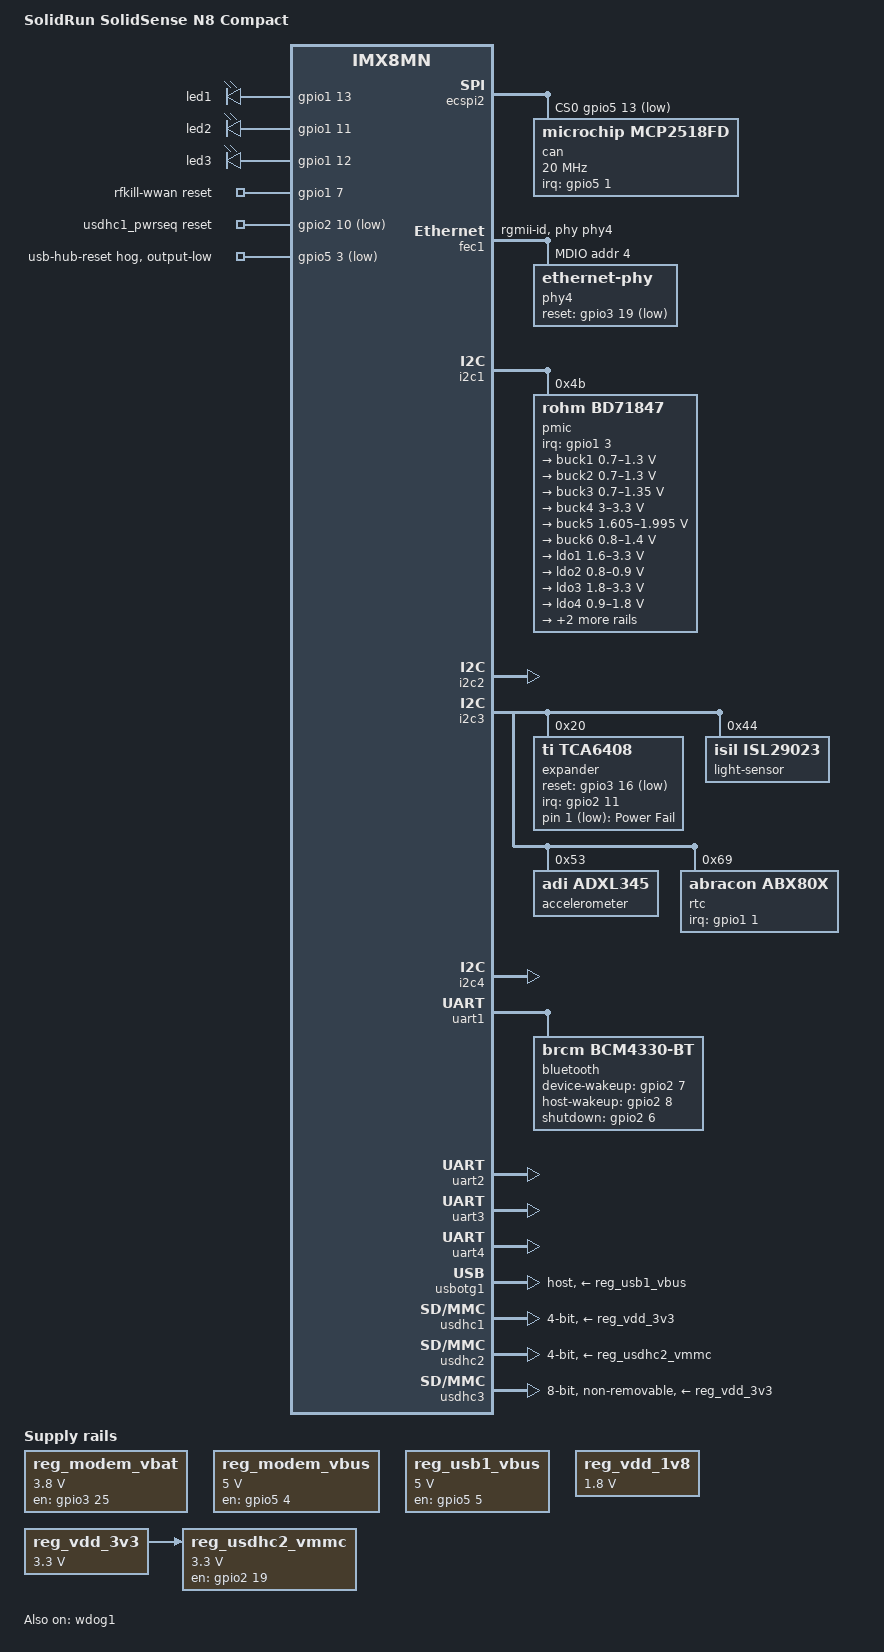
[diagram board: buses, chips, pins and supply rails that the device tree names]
// SPDX-License-Identifier: (GPL-2.0 OR MIT)
//
// Device Tree file for SolidSense N8 Compact
//
// Copyright 2024 Josua Mayer <josua@solid-run.com>

/dts-v1/;

#include <dt-bindings/leds/common.h>

#include "imx8mn.dtsi"

/ {
	model = "SolidRun SolidSense N8 Compact";
	compatible = "solidrun,solidsense-n8-compact", "fsl,imx8mn";

	aliases {
		gpio5 = &expander;
		rtc0 = &rtc;
		rtc1 = &snvs_rtc;
		usb0 = &usbotg1;
		watchdog0 = &wdog1;
		watchdog1 = &rtc;
	};

	chosen {
		stdout-path = &uart2;
	};

	/*poll IO Expander and reboot in case of power loss*/
	gpio-keys {
		compatible = "gpio-keys";
		autorepeat;

		key-power-fail {
			label = "Power Fail";
			linux,code = <KEY_RESTART>;
			gpios = <&expander 1 GPIO_ACTIVE_LOW>;
			debounce-interval = <100>;
			linux,can-disable;
		};
	};

	/* LED labels based on enclosure, schematic names differ. */
	leds {
		compatible = "gpio-leds";
		pinctrl-names = "default";
		pinctrl-0 = <&led_pins>;

		/* D20 */
		led1 {
			lable = "led1";
		        gpios = <&gpio1 13 GPIO_ACTIVE_HIGH>;
		        default-state = "off";
		};

		/* D18 */
		led2 {
			lable = "led2";
		        gpios = <&gpio1 11 GPIO_ACTIVE_HIGH>;
		        default-state = "off";
		};

		/* D19 */
		led3 {
			lable = "led3";
		        gpios = <&gpio1 12 GPIO_ACTIVE_HIGH>;
		        default-state = "off";
		};
	};

	reg_modem_vbat: regulator-modem-vbat {
		compatible = "regulator-fixed";
		regulator-name = "modem-vbat";
		pinctrl-names = "default";
		pinctrl-0 = <&regulator_modem_vbat_pins>;
		regulator-min-microvolt = <3800000>;
		regulator-max-microvolt = <3800000>;
		gpio = <&gpio3 25 GPIO_ACTIVE_HIGH>;
		enable-active-high;
		regulator-always-on;
	};

	/* power to lte modems behind hub ports 2/3 */
	reg_modem_vbus: regulator-modem-vbus {
		compatible = "regulator-fixed";
		regulator-name = "modem-vbus";
		pinctrl-names = "default";
		pinctrl-0 = <&regulator_modem_vbus_pins>;
		regulator-min-microvolt = <5000000>;
		regulator-max-microvolt = <5000000>;
		gpio = <&gpio5 4 GPIO_ACTIVE_HIGH>;
		enable-active-high;
		regulator-always-on;
	};

	/* power to usb hub, and type-a behind hub port 1 */
	reg_usb1_vbus: regulator-usb1-vbus {
		compatible = "regulator-fixed";
		regulator-name = "usb1-vbus";
		pinctrl-names = "default";
		pinctrl-0 = <&regulator_usb1_vbus_pins>;
		regulator-min-microvolt = <5000000>;
		regulator-max-microvolt = <5000000>;
		gpio = <&gpio5 5 GPIO_ACTIVE_HIGH>;
		enable-active-high;
	};

	reg_vdd_1v8: regulator-vdd-1v8 {
		compatible = "regulator-fixed";
		regulator-name = "vdd-1v8";
		regulator-min-microvolt = <1800000>;
		regulator-max-microvolt = <1800000>;
	};

	reg_vdd_3v3: regulator-vdd-3v3 {
		compatible = "regulator-fixed";
		regulator-name = "vdd-3v3";
		regulator-min-microvolt = <3300000>;
		regulator-max-microvolt = <3300000>;
	};

	reg_usdhc2_vmmc: regulator-usdhc2-vmmc {
		compatible = "regulator-fixed";
		regulator-name = "usdhc2-vmmc";
		pinctrl-names = "default";
		pinctrl-0 = <&regulator_usdhc2_vmmc_pins>;
		regulator-min-microvolt = <3300000>;
		regulator-max-microvolt = <3300000>;
		vin-supply = <&reg_vdd_3v3>;
		gpio = <&gpio2 19 GPIO_ACTIVE_HIGH>;
		enable-active-high;
		off-on-delay-us = <250>;
	};

	rfkill {
		compatible = "rfkill-gpio";
		label = "rfkill-wwan";
		radio-type = "wwan";
		pinctrl-names = "default";
		pinctrl-0 = <&modem_pins>;
		reset-gpios = <&gpio1 7 GPIO_ACTIVE_HIGH>;
	};

	usdhc1_pwrseq: usdhc1-pwrseq {
		compatible = "mmc-pwrseq-simple";
		reset-gpios = <&gpio2 10 GPIO_ACTIVE_LOW>;
	};
};

&ecspi2 {
	pinctrl-names = "default";
	pinctrl-0 = <&ecspi2_pins>;
	/* native chip-select causes reading 0xffffffff */
	cs-gpios = <&gpio5 13 GPIO_ACTIVE_LOW>;
	num-cs = <1>;
	status = "okay";

	can@0 {
		compatible = "microchip,mcp2518fd";
		reg = <0>;
		spi-max-frequency = <20000000>;
		pinctrl-names = "default";
		pinctrl-0 = <&can_pins>;
		interrupt-parent = <&gpio5>;
		interrupts = <1 IRQ_TYPE_EDGE_FALLING>;
		clocks = <&clk IMX8MN_CLK_CLKOUT1>;
		/* generate 8MHz clock from soc-internal 24mhz reference */
		assigned-clocks = <&clk IMX8MN_CLK_CLKOUT1_SEL>,
			  <&clk IMX8MN_CLK_CLKOUT1_DIV>;
		assigned-clock-rates = <0>, <8000000>;
		assigned-clock-parents = <&clk IMX8MN_CLK_24M>, <0>;
	};
};

&fec1 {
	pinctrl-names = "default";
	pinctrl-0 = <&fec1_pins>;
	phy-mode = "rgmii-id";
	phy-handle = <&phy4>;
	local-mac-address = [00 00 00 00 00 00];
	fsl,magic-packet;
	status = "okay";

	mdio {
		#address-cells = <1>;
		#size-cells = <0>;

		/*
		 * Depending on board revision two different phys are used:
		 * - v1.1: atheros phy at address 4
		 * - v1.2+: analog devices phy at address 0
		 * Configure first version by default.
		 * On v1.2 and later, U-Boot will enable the correct phy
		 * based on runtime detection and patch dtb accordingly.
		 */

		/* ADIN1300 */
		phy0: ethernet-phy@0 {
			reg = <0>;
			reset-gpios = <&gpio3 19 GPIO_ACTIVE_LOW>;
			reset-assert-us = <10>;
			reset-deassert-us = <5000>;
			interrupt-parent = <&gpio1>;
			interrupts = <10 IRQ_TYPE_LEVEL_LOW>;
			adi,link-st-polarity = <GPIO_ACTIVE_LOW>;
			adi,led-polarity = <GPIO_ACTIVE_LOW>;
			status = "disabled";

			leds {
				#address-cells = <1>;
				#size-cells = <0>;

				led@0 {
					reg = <0>;
					color = <LED_COLOR_ID_YELLOW>;
					function = LED_FUNCTION_LAN;
					default-state = "keep";
					active-low;
				};
			};
		};

		/* AR8035 */
		phy4: ethernet-phy@4 {
			reg = <4>;
			reset-gpios = <&gpio3 19 GPIO_ACTIVE_LOW>;
			reset-assert-us = <10000>;
			status = "okay";
		};
	};
};

&gpio5 {
	usb-hub-reset-hog {
		gpio-hog;
		gpios = <3 GPIO_ACTIVE_LOW>;
		output-low; /* deasserted */
		line-name = "usb-hub-reset";
	};
};

&i2c1 {
	pinctrl-names = "default";
	pinctrl-0 = <&i2c1_pins>;
	status = "okay";

	pmic@4b {
		compatible = "rohm,bd71847";
		reg = <0x4b>;
		pinctrl-names = "default";
		pinctrl-0 = <&pmic_pins>;
		interrupt-parent = <&gpio1>;
		interrupts = <3 IRQ_TYPE_LEVEL_LOW>;
		rohm,reset-snvs-powered;

		#clock-cells = <0>;
		clocks = <&osc_32k>;
		clock-output-names = "clk-32k-out";

		regulators {
			BUCK1 {
				// supplies soc vdd, soc mipi vdd @ 0.9V
				regulator-name = "buck1";
				regulator-min-microvolt = <700000>;
				regulator-max-microvolt = <1300000>;
				regulator-boot-on;
				regulator-always-on;
				regulator-ramp-delay = <1250>;
				rohm,dvs-run-voltage = <850000>;
				rohm,dvs-suspend-voltage = <750000>;
			};

			BUCK2 {
				regulator-name = "buck2";
				regulator-min-microvolt = <700000>;
				regulator-max-microvolt = <1300000>;
				regulator-boot-on;
				regulator-always-on;
				regulator-ramp-delay = <1250>;
				rohm,dvs-run-voltage = <1000000>;
				rohm,dvs-idle-voltage = <900000>;
				rohm,dvs-suspend-voltage = <0>;
			};

			BUCK3 {
				// BUCK5 in datasheet
				// output floating
				regulator-name = "buck3";
				regulator-min-microvolt = <700000>;
				regulator-max-microvolt = <1350000>;
			};

			BUCK4 {
				// BUCK6 in datasheet
				// supplies ldo3, ldo5, muxsw
				regulator-name = "buck4";
				regulator-min-microvolt = <3000000>;
				regulator-max-microvolt = <3300000>;
				regulator-boot-on;
				regulator-always-on;
			};

			BUCK5 {
				// BUCK7 in datasheet
				// supplies ldo4, ldo6, muxsw
				// enables dram vpp @ 2.5V
				regulator-name = "buck5";
				regulator-min-microvolt = <1605000>;
				regulator-max-microvolt = <1995000>;
				regulator-boot-on;
				regulator-always-on;
			};

			BUCK6 {
				// BUCK8 in datasheet
				// supplies dram @ 1.2V
				regulator-name = "buck6";
				regulator-min-microvolt = <800000>;
				regulator-max-microvolt = <1400000>;
				regulator-boot-on;
				regulator-always-on;
			};

			LDO1 {
				// supplies soc snvs @ 1.8V
				regulator-name = "ldo1";
				regulator-min-microvolt = <1600000>;
				regulator-max-microvolt = <3300000>;
				regulator-boot-on;
				regulator-always-on;
			};

			LDO2 {
				// supplies soc snvs @ 0.8V
				regulator-name = "ldo2";
				regulator-min-microvolt = <800000>;
				regulator-max-microvolt = <900000>;
				regulator-boot-on;
				regulator-always-on;
			};

			LDO3 {
				// supplies soc vdd @ 1.8V
				regulator-name = "ldo3";
				regulator-min-microvolt = <1800000>;
				regulator-max-microvolt = <3300000>;
				regulator-boot-on;
				regulator-always-on;
			};

			LDO4 {
				// output floating
				regulator-name = "ldo4";
				regulator-min-microvolt = <900000>;
				regulator-max-microvolt = <1800000>;
			};

			LDO5 {
				// output floating
				regulator-name = "ldo5";
				regulator-min-microvolt = <800000>;
				regulator-max-microvolt = <3300000>;
			};

			LDO6 {
				// supplies soc vdd mipi @ 1.2V
				regulator-name = "ldo6";
				regulator-min-microvolt = <900000>;
				regulator-max-microvolt = <1800000>;
				regulator-boot-on;
				regulator-always-on;
			};
		};
	};
};

&i2c2 {
	/*
	 * routed to various connectors:
	 * - basler camera (CON2)
	 * - touchscreen (J3)
	 * - expansion connector (J14)
	 */
	pinctrl-names = "default";
	pinctrl-0 = <&i2c2_pins>;
	status = "okay";
};

&i2c3 {
	pinctrl-names = "default";
	pinctrl-0 = <&i2c3_pins>;
	status = "okay";

	expander: gpio@20 {
		compatible = "ti,tca6408";
		reg = <0x20>;
		pinctrl-names = "default";
		pinctrl-0 = <&gpio_expander_pins>;
		reset-gpios = <&gpio3 16 GPIO_ACTIVE_LOW>;
		interrupt-parent = <&gpio2>;
		interrupts = <11 IRQ_TYPE_EDGE_FALLING>;
		interrupt-controller;
		#interrupt-cells = <2>;
		gpio-controller;
		#gpio-cells = <2>;
		gpio-line-names = "SYSGD", "PFO#", "CAPGD", "CAPFLT#",
				  "CHGEN#", "BSTEN#", "", "";
	};

	light-sensor@44 {
		compatible = "isil,isl29023";
		reg = <0x44>;
	};

	accelerometer@53 {
		compatible = "adi,adxl345";
		reg = <0x53>;
	};

	/* battery-charger@68 */

	rtc: rtc@69 {
		compatible = "abracon,abx80x";
		reg = <0x69>;
		pinctrl-names = "default";
		pinctrl-0 = <&rtc_pins>;
		abracon,tc-diode = "schottky";
		abracon,tc-resistor = <3>;
		interrupt-parent = <&gpio1>;
		interrupts = <1 IRQ_TYPE_EDGE_FALLING>;
	};
};

&i2c4 {
	/* routed to expansion connector (J14) */
	pinctrl-names = "default";
	pinctrl-0 = <&i2c4_pins>;
	status = "okay";
};

&iomuxc {
	pinctr-names = "default";
	pinctrl-0 = <&tamper_pins>, <&usb_hub_pins>;

	ieee802151_radio_pins: ieee802151-radio-pins {
		fsl,pins = <
			/* RESETN */
			MX8MN_IOMUXC_GPIO1_IO05_GPIO1_IO5	0x0 /* TODO: pull / set 1? */
			/* VDD_EN */
			MX8MN_IOMUXC_GPIO1_IO06_GPIO1_IO6	0x0
			/* SWDCLK */
			MX8MN_IOMUXC_GPIO1_IO14_GPIO1_IO14	0x0 /* TODO: pull-up? */
			/* SDIO */
			MX8MN_IOMUXC_GPIO1_IO15_GPIO1_IO15	0x0 /* TODO: pull-up? */
		>;
	};

	can_pins: can-pins {
		fsl,pins = <
			MX8MN_IOMUXC_SAI3_TXD_GPIO5_IO1		0x140
		>;
	};

	ecspi2_pins: ecspi2-pins {
		fsl,pins = <
			MX8MN_IOMUXC_ECSPI2_SCLK_ECSPI2_SCLK	0x96
			MX8MN_IOMUXC_ECSPI2_MOSI_ECSPI2_MOSI	0x1d6
			MX8MN_IOMUXC_ECSPI2_MISO_ECSPI2_MISO	0x1d6
			MX8MN_IOMUXC_ECSPI2_SS0_GPIO5_IO13	0x1d6
		>;
	};

	fec1_pins: fec1-pins {
		/*
		 * Some pins are sampled at phy reset to apply configuration:
		 * - AR803x PHY (revision 1.1)
		 *   - RXD[1:0]: phy address bits [1:0]
		 *   - RXD[3:2],RX_CTL: mac interface select bits 3,1,0
		 * - ADIN1300 PHY (revision 1.2 or later)
		 *   - RXD[3:0]: phy address bits [3:0]
		 *   - RX_CTL,RXC: mac interface select bits 1,0
		 * SoC enables pull-down at reset, PHYs have internal
		 * pull-down, so pinmux may unset pull-enable.
		 */
		fsl,pins = <
			MX8MN_IOMUXC_ENET_MDC_ENET1_MDC			0x2
			MX8MN_IOMUXC_ENET_MDIO_ENET1_MDIO		0x2
			MX8MN_IOMUXC_ENET_TD3_ENET1_RGMII_TD3		0x1e
			MX8MN_IOMUXC_ENET_TD2_ENET1_RGMII_TD2		0x1e
			MX8MN_IOMUXC_ENET_TD1_ENET1_RGMII_TD1		0x1e
			MX8MN_IOMUXC_ENET_TD0_ENET1_RGMII_TD0		0x1e
			/* RD[3:0] sampled at phy reset for address bits [3:0] */
			MX8MN_IOMUXC_ENET_RD3_ENET1_RGMII_RD3		0x90
			MX8MN_IOMUXC_ENET_RD2_ENET1_RGMII_RD2		0x90
			MX8MN_IOMUXC_ENET_RD1_ENET1_RGMII_RD1		0x90
			MX8MN_IOMUXC_ENET_RD0_ENET1_RGMII_RD0		0x90
			MX8MN_IOMUXC_ENET_TXC_ENET1_RGMII_TXC		0x10
			MX8MN_IOMUXC_ENET_RXC_ENET1_RGMII_RXC		0x90
			MX8MN_IOMUXC_ENET_RX_CTL_ENET1_RGMII_RX_CTL	0x90
			MX8MN_IOMUXC_ENET_TX_CTL_ENET1_RGMII_TX_CTL	0x10
			/* phy reset */
			MX8MN_IOMUXC_SAI5_RXFS_GPIO3_IO19		0x0
			/* phy interrupt */
			MX8MN_IOMUXC_GPIO1_IO10_GPIO1_IO10		0x140
		>;
	};

	gpio_expander_pins: gpio-expander-pins {
		fsl,pins = <
			MX8MN_IOMUXC_NAND_READY_B_GPIO3_IO16	0x140
			MX8MN_IOMUXC_SD1_STROBE_GPIO2_IO11	0x140
		>;
	};

	i2c1_pins: i2c1-pins {
		fsl,pins = <
			MX8MN_IOMUXC_I2C1_SCL_I2C1_SCL		0x400001c2
			MX8MN_IOMUXC_I2C1_SDA_I2C1_SDA		0x400001c2
		>;
	};

	i2c2_pins: i2c2-pins {
		fsl,pins = <
			MX8MN_IOMUXC_I2C2_SCL_I2C2_SCL		0x400001c2
			MX8MN_IOMUXC_I2C2_SDA_I2C2_SDA		0x400001c2
		>;
	};

	i2c3_pins: i2c3-pins {
		fsl,pins = <
			MX8MN_IOMUXC_I2C3_SCL_I2C3_SCL		0x400001c2
			MX8MN_IOMUXC_I2C3_SDA_I2C3_SDA		0x400001c2
		>;
	};

	i2c4_pins: i2c4-pins {
		fsl,pins = <
			MX8MN_IOMUXC_I2C4_SCL_I2C4_SCL		0x400001c2
			MX8MN_IOMUXC_I2C4_SDA_I2C4_SDA		0x400001c2
		>;
	};

	led_pins: led-pins {
		fsl,pins = <
			MX8MN_IOMUXC_GPIO1_IO11_GPIO1_IO11	0x100
			MX8MN_IOMUXC_GPIO1_IO12_GPIO1_IO12	0x100
			MX8MN_IOMUXC_GPIO1_IO13_GPIO1_IO13	0x100
		>;
	};

	modem_pins: modem-pins {
		fsl,pins = <
			/* RESET_N: modem-internal pull-down */
			MX8MN_IOMUXC_GPIO1_IO07_GPIO1_IO7	0x0
			/* PWRKEY: pull-down ensures always-on */
			MX8MN_IOMUXC_GPIO1_IO08_GPIO1_IO8	0x100
		>;
	};

	pmic_pins: pmic-pins {
		fsl,pins = <
			MX8MN_IOMUXC_GPIO1_IO03_GPIO1_IO3	0x140
		>;
	};

	regulator_modem_vbat_pins: regulator-modem-vbat-pins {
		fsl,pins = <
			MX8MN_IOMUXC_SAI5_MCLK_GPIO3_IO25	0x0
		>;
	};

	regulator_modem_vbus_pins: regulator-modem-vbus-pins {
		fsl,pins = <
			MX8MN_IOMUXC_SPDIF_RX_GPIO5_IO4		0x0
		>;
	};

	regulator_usb1_vbus_pins: regulator-usb1-vbus-pins {
		fsl,pins = <
			MX8MN_IOMUXC_SPDIF_EXT_CLK_GPIO5_IO5	0x0
		>;
	};

	regulator_usdhc2_vmmc_pins: regulator-usdhc2-vmmc-pins {
		fsl,pins = <
			MX8MN_IOMUXC_SD2_RESET_B_GPIO2_IO19	0x0
		>;
	};

	rtc_pins: rtc-pins {
		fsl,pins = <
			MX8MN_IOMUXC_GPIO1_IO01_GPIO1_IO1	0x140
			MX8MN_IOMUXC_SAI3_RXFS_GPIO4_IO28	0x100
		>;
	};

	tamper_pins: tamper-pins {
		/*
		 * Routed to physical tamper input (J12),
		 * accelerometer and light-sensor interrupts.
		 */
		fsl,pins = <
			MX8MN_IOMUXC_GPIO1_IO09_GPIO1_IO9	0x140
		>;
	};

	uart1_pins: uart1-pins {
		fsl,pins = <
			MX8MN_IOMUXC_UART1_RXD_UART1_DCE_RX	0x140
			MX8MN_IOMUXC_UART1_TXD_UART1_DCE_TX	0x140
			MX8MN_IOMUXC_UART3_RXD_UART1_DCE_CTS_B	0x140
			MX8MN_IOMUXC_UART3_TXD_UART1_DCE_RTS_B	0x140
			/* BT_REG_ON */
			MX8MN_IOMUXC_SD1_DATA4_GPIO2_IO6	0x0
			/* BT_WAKE_DEV */
			MX8MN_IOMUXC_SD1_DATA5_GPIO2_IO7	0x0
			/* BT_WAKE_HOST */
			MX8MN_IOMUXC_SD1_DATA6_GPIO2_IO8	0x100
		>;
	};

	uart2_pins: uart2-pins {
		fsl,pins = <
			MX8MN_IOMUXC_UART2_RXD_UART2_DCE_RX	0x140
			MX8MN_IOMUXC_UART2_TXD_UART2_DCE_TX	0x140
		>;
	};

	uart3_pins: uart3-pins {
		fsl,pins = <
			MX8MN_IOMUXC_ECSPI1_MOSI_UART3_DTE_RX	0x140
			MX8MN_IOMUXC_ECSPI1_SCLK_UART3_DTE_TX	0x140
			MX8MN_IOMUXC_ECSPI1_MISO_UART3_DTE_RTS_B	0x140
			MX8MN_IOMUXC_ECSPI1_SS0_UART3_DTE_CTS_B	0x140
		>;
	};

	uart4_pins: uart4-pins {
		fsl,pins = <
			MX8MN_IOMUXC_UART4_RXD_UART4_DCE_RX	0x140
			MX8MN_IOMUXC_UART4_TXD_UART4_DCE_TX	0x140
		>;
	};

	usb_hub_pins: usb-hub-pins {
		fsl,pins = <
			MX8MN_IOMUXC_SPDIF_TX_GPIO5_IO3		0x0
		>;
	};

	usdhc1_pins: usdhc1-pins {
		fsl,pins = <
			MX8MN_IOMUXC_SD1_CLK_USDHC1_CLK		0x190
			MX8MN_IOMUXC_SD1_CMD_USDHC1_CMD		0x1d0
			MX8MN_IOMUXC_SD1_DATA0_USDHC1_DATA0	0x1d0
			MX8MN_IOMUXC_SD1_DATA1_USDHC1_DATA1	0x1d0
			MX8MN_IOMUXC_SD1_DATA2_USDHC1_DATA2	0x1d0
			MX8MN_IOMUXC_SD1_DATA3_USDHC1_DATA3	0x1d0
			/* wifi refclk */
			MX8MN_IOMUXC_GPIO1_IO00_ANAMIX_REF_CLK_32K	0x0
			/* WL_WAKE_HOST */
			MX8MN_IOMUXC_SD1_DATA7_GPIO2_IO9	0x100
			/* WL_REG_ON */
			MX8MN_IOMUXC_SD1_RESET_B_GPIO2_IO10	0x0
		>;
	};

	usdhc2_pins: usdhc2-pins {
		fsl,pins = <
			MX8MN_IOMUXC_SD2_CLK_USDHC2_CLK		0x190
			MX8MN_IOMUXC_SD2_CMD_USDHC2_CMD		0x1d0
			MX8MN_IOMUXC_SD2_DATA0_USDHC2_DATA0	0x1d0
			MX8MN_IOMUXC_SD2_DATA1_USDHC2_DATA1	0x1d0
			MX8MN_IOMUXC_SD2_DATA2_USDHC2_DATA2	0x1d0
			MX8MN_IOMUXC_SD2_DATA3_USDHC2_DATA3	0x1d0
			MX8MN_IOMUXC_SD2_CD_B_USDHC2_CD_B	0x0
			/* usdhc2 signalling voltage pmic control */
			MX8MN_IOMUXC_GPIO1_IO04_USDHC2_VSELECT	0x140
		>;
	};

	usdhc2_100mhz_pins: usdhc2-100mhz-pins {
		fsl,pins = <
			MX8MN_IOMUXC_SD2_CLK_USDHC2_CLK		0x194
			MX8MN_IOMUXC_SD2_CMD_USDHC2_CMD		0x1d4
			MX8MN_IOMUXC_SD2_DATA0_USDHC2_DATA0	0x1d4
			MX8MN_IOMUXC_SD2_DATA1_USDHC2_DATA1	0x1d4
			MX8MN_IOMUXC_SD2_DATA2_USDHC2_DATA2	0x1d4
			MX8MN_IOMUXC_SD2_DATA3_USDHC2_DATA3	0x1d4
			MX8MN_IOMUXC_SD2_CD_B_USDHC2_CD_B	0x0
			/* usdhc2 signalling voltage pmic control */
			MX8MN_IOMUXC_GPIO1_IO04_USDHC2_VSELECT	0x140
		>;
	};

	usdhc2_200mhz_pins: usdhc2-100mhz-pins {
		fsl,pins = <
			MX8MN_IOMUXC_SD2_CLK_USDHC2_CLK		0x196
			MX8MN_IOMUXC_SD2_CMD_USDHC2_CMD		0x1d6
			MX8MN_IOMUXC_SD2_DATA0_USDHC2_DATA0	0x1d6
			MX8MN_IOMUXC_SD2_DATA1_USDHC2_DATA1	0x1d6
			MX8MN_IOMUXC_SD2_DATA2_USDHC2_DATA2	0x1d6
			MX8MN_IOMUXC_SD2_DATA3_USDHC2_DATA3	0x1d6
			MX8MN_IOMUXC_SD2_CD_B_USDHC2_CD_B	0x0
			/* usdhc2 signalling voltage pmic control */
			MX8MN_IOMUXC_GPIO1_IO04_USDHC2_VSELECT	0x140
		>;
	};

	usdhc3_pins: usdhc3-pins {
		fsl,pins = <
			MX8MN_IOMUXC_NAND_WE_B_USDHC3_CLK	0x190
			MX8MN_IOMUXC_NAND_WP_B_USDHC3_CMD	0x1d0
			MX8MN_IOMUXC_NAND_DATA04_USDHC3_DATA0	0x1d0
			MX8MN_IOMUXC_NAND_DATA05_USDHC3_DATA1	0x1d0
			MX8MN_IOMUXC_NAND_DATA06_USDHC3_DATA2	0x1d0
			MX8MN_IOMUXC_NAND_DATA07_USDHC3_DATA3	0x1d0
			MX8MN_IOMUXC_NAND_RE_B_USDHC3_DATA4	0x1d0
			MX8MN_IOMUXC_NAND_CE2_B_USDHC3_DATA5	0x1d0
			MX8MN_IOMUXC_NAND_CE3_B_USDHC3_DATA6	0x1d0
			MX8MN_IOMUXC_NAND_CLE_USDHC3_DATA7	0x1d0
			MX8MN_IOMUXC_NAND_CE1_B_USDHC3_STROBE	0x190
		>;
	};

	wdog1_pins: wdog1-pins {
		fsl,pins = <
			MX8MN_IOMUXC_GPIO1_IO02_WDOG1_WDOG_B	0x140
		>;
	};
};

/* Bluetooth */
&uart1 {
	pinctrl-names = "default";
	pinctrl-0 = <&uart1_pins>;
	uart-has-rtscts;
	status = "okay";

	bluetooth {
		compatible = "brcm,bcm4330-bt";
		device-wakeup-gpios = <&gpio2 7 GPIO_ACTIVE_HIGH>;
		host-wakeup-gpios = <&gpio2 8 GPIO_ACTIVE_HIGH>;
		shutdown-gpios = <&gpio2 6 GPIO_ACTIVE_HIGH>;
		max-speed = <1500000>;
	};
};

/* console */
&uart2 {
	pinctrl-names = "default";
	pinctrl-0 = <&uart2_pins>;
	status = "okay";
};

/* RS485 */
&uart3 {
	pinctrl-names = "default";
	pinctrl-0 = <&uart3_pins>;
	uart-has-rtscts;
	linux,rs485-enabled-at-boot-time;
	fsl,dte-mode;
	status = "okay";
};

/* 802.15.1 radio */
&uart4 {
	pinctrl-names = "default";
	pinctrl-0 = <&uart4_pins &ieee802151_radio_pins>;
	status = "okay";
};

&usbotg1 {
	vbus-supply = <&reg_usb1_vbus>;
	dr_mode = "host";
	disable-over-current;
	status  = "okay";
};

/* WiFi */
&usdhc1 {
	pinctrl-names = "default";
	pinctrl-0 = <&usdhc1_pins>;
	vmmc-supply = <&reg_vdd_3v3>;
	vqmmc-supply = <&reg_vdd_1v8>;
	bus-width = <4>;
	mmc-pwrseq = <&usdhc1_pwrseq>;
	status = "okay";
};

/* microSD */
&usdhc2 {
	pinctrl-names = "default", "state_100mhz", "state_200mhz";
	pinctrl-0 = <&usdhc2_pins>;
	pinctrl-1 = <&usdhc2_100mhz_pins>;
	pinctrl-2 = <&usdhc2_200mhz_pins>;
	vmmc-supply = <&reg_usdhc2_vmmc>;
	bus-width = <4>;
	broken-cd;
	status = "okay";
};

/* eMMC */
&usdhc3 {
	/*
	 * Use lowest drive strength for all high-speed modes to minimise
	 * electro-magnetic emissions.
	 * In this particular design HS-400 still works okay, no extra
	 * pinctrl for 100mhz and 200mhz are required.
	 */
	pinctrl-names = "default";
	pinctrl-0 = <&usdhc3_pins>;
	vmmc-supply = <&reg_vdd_3v3>;
	vqmmc-supply = <&reg_vdd_1v8>;
	bus-width = <8>;
	non-removable;
	status = "okay";
};

&wdog1 {
	pinctrl-names = "default";
	pinctrl-0 = <&wdog1_pins>;
	status = "okay";
};
